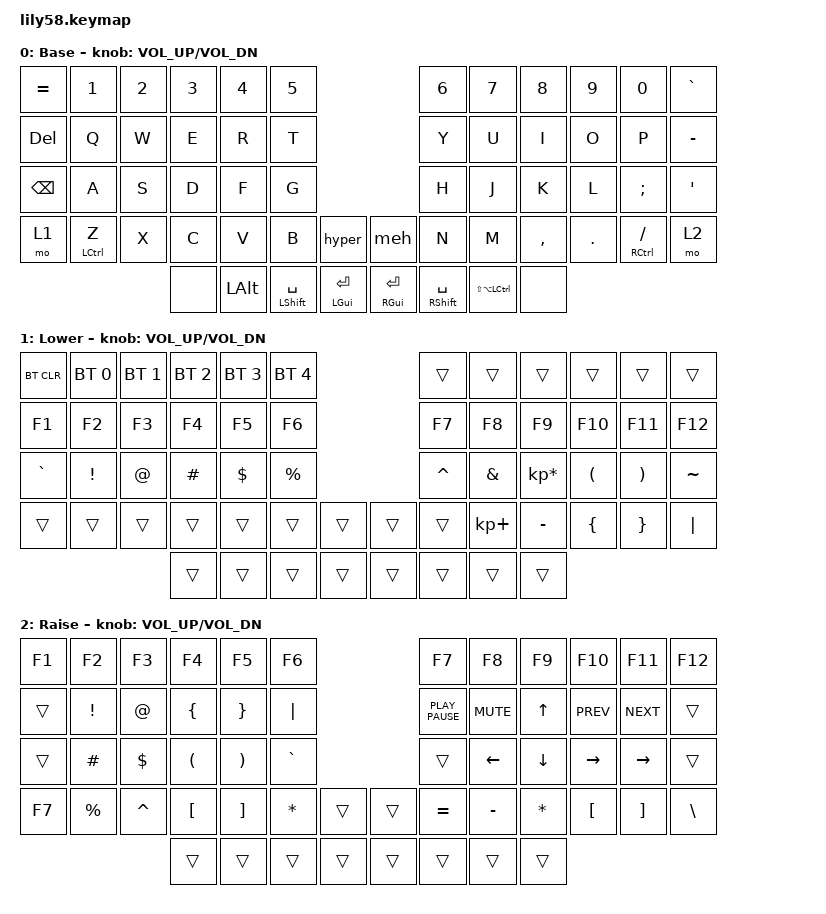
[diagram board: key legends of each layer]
/*
 * Copyright (c) 2020 The ZMK Contributors
 *
 * SPDX-License-Identifier: MIT
 */

#include <behaviors.dtsi>
#include <dt-bindings/zmk/bt.h>
#include <dt-bindings/zmk/keys.h>

/ {
    macros {
        hyper: hyper {
            compatible = "zmk,behavior-macro";
            #binding-cells = <0>;
            bindings = <&mt LS(LA(LC(LEFT_GUI))) TAB>;
            label = "HYPER";
        };

        meh: meh {
            compatible = "zmk,behavior-macro";
            #binding-cells = <0>;
            bindings = <&mt LS(LA(LEFT_CONTROL)) ESC>;
            label = "MEH";
        };
    };

    keymap {
        compatible = "zmk,keymap";

        default_layer {
            // ------------------------------------------------------------------------------------------------------------
            // |  ESC  |  1  |  2  |  3   |  4   |  5   |                   |  6   |  7    |  8    |  9   |   0   |   `   |
            // |  TAB  |  Q  |  W  |  E   |  R   |  T   |                   |  Y   |  U    |  I    |  O   |   P   |   -   |
            // |  CTRL |  A  |  S  |  D   |  F   |  G   |                   |  H   |  J    |  K    |  L   |   ;   |   '   |
            // | SHIFT |  Z  |  X  |  C   |  V   |  B   |   "["  |  |  "]"  |  N   |  M    |  ,    |  .   |   /   | SHIFT |
            //                     | ALT  | GUI  | LOWER|  SPACE |  | ENTER | RAISE| BSPC  | GUI   |

            display-name = "Base";
            bindings = <
&kp EQUAL      &kp N1              &kp N2  &kp N3  &kp N4        &kp N5                                                           &kp N6                 &kp N7                    &kp N8     &kp N9   &kp N0          &kp GRAVE
&kp DELETE     &kp Q               &kp W   &kp E   &kp R         &kp T                                                            &kp Y                  &kp U                     &kp I      &kp O    &kp P           &kp MINUS
&kp BACKSPACE  &kp A               &kp S   &kp D   &kp F         &kp G                                                            &kp H                  &kp J                     &kp K      &kp L    &kp SEMI        &kp SQT
&mo 1          &mt LEFT_CONTROL Z  &kp X   &kp C   &kp V         &kp B                 &hyper                &meh                 &kp N                  &kp M                     &kp COMMA  &kp DOT  &mt RCTRL FSLH  &mo 2
                                           &none   &kp LEFT_ALT  &mt LEFT_SHIFT SPACE  &mt LEFT_GUI ENTER    &mt RIGHT_GUI ENTER  &mt RIGHT_SHIFT SPACE  &kp LS(LA(LEFT_CONTROL))  &none
            >;

            sensor-bindings = <&inc_dec_kp C_VOL_UP C_VOL_DN>;
        };

        lower_layer {
            // ------------------------------------------------------------------------------------------------------------
            // | BTCLR | BT1 | BT2 |  BT3 |  BT4 |  BT5 |                   |      |       |       |      |       |       |
            // |  F1   |  F2 |  F3 |  F4  |  F5  |  F6  |                   |  F7  |  F8   |  F9   |  F10 |  F11  |  F12  |
            // |   `   |  !  |  @  |  #   |  $   |  %   |                   |  ^   |  &    |  *    |  (   |   )   |   ~   |
            // |       |     |     |      |      |      |        |  |       |      |  _    |  +    |  {   |   }   |  "|"  |
            //                     |      |      |      |        |  |       |      |       |       |

            display-name = "Lower";
            bindings = <
&bt BT_CLR  &bt BT_SEL 0  &bt BT_SEL 1  &bt BT_SEL 2  &bt BT_SEL 3  &bt BT_SEL 4                    &trans     &trans       &trans           &trans    &trans    &trans
&kp F1      &kp F2        &kp F3        &kp F4        &kp F5        &kp F6                          &kp F7     &kp F8       &kp F9           &kp F10   &kp F11   &kp F12
&kp GRAVE   &kp EXCL      &kp AT        &kp HASH      &kp DOLLAR    &kp PRCNT                       &kp CARET  &kp AMPS     &kp KP_MULTIPLY  &kp LPAR  &kp RPAR  &kp TILDE
&trans      &trans        &trans        &trans        &trans        &trans        &trans    &trans  &trans     &kp KP_PLUS  &kp MINUS        &kp LBRC  &kp RBRC  &kp PIPE
                                        &trans        &trans        &trans        &trans    &trans  &trans     &trans       &trans
            >;

            sensor-bindings = <&inc_dec_kp C_VOL_UP C_VOL_DN>;
        };

        raise_layer {
            // ------------------------------------------------------------------------------------------------------------
            // |       |     |     |      |      |      |                   |      |       |       |      |       |       |
            // |   `   |  1  |  2  |  3   |  4   |  5   |                   |  6   |   7   |   8   |  9   |   0   |       |
            // |   F1  |  F2 |  F3 |  F4  |  F5  |  F6  |                   |      |   <-  |   v   |  ^   |  ->   |       |
            // |   F7  |  F8 |  F9 |  F10 |  F11 |  F12 |        |  |       |  +   |   -   |   =   |  [   |   ]   |   \   |
            //                     |      |      |      |        |  |       |      |       |       |

            display-name = "Raise";
            bindings = <
&kp F1  &kp F2       &kp F3     &kp F4                &kp F5                 &kp F6                       &kp F7            &kp F8      &kp F9        &kp F10     &kp F11     &kp F12
&trans  &kp EXCL     &kp AT     &kp LEFT_BRACE        &kp RIGHT_BRACE        &kp PIPE                     &kp K_PLAY_PAUSE  &kp K_MUTE  &kp UP_ARROW  &kp K_PREV  &kp K_NEXT  &trans
&trans  &kp HASH     &kp DLLR   &kp LEFT_PARENTHESIS  &kp RIGHT_PARENTHESIS  &kp GRAVE                    &trans            &kp LEFT    &kp DOWN      &kp RIGHT   &kp RIGHT   &trans
&kp F7  &kp PERCENT  &kp CARET  &kp LEFT_BRACKET      &kp RIGHT_BRACKET      &kp STAR   &trans    &trans  &kp EQUAL         &kp MINUS   &kp ASTRK     &kp LBKT    &kp RBKT    &kp BSLH
                                &trans                &trans                 &trans     &trans    &trans  &trans            &trans      &trans
            >;

            sensor-bindings = <&inc_dec_kp C_VOL_UP C_VOL_DN>;
        };
    };
};
